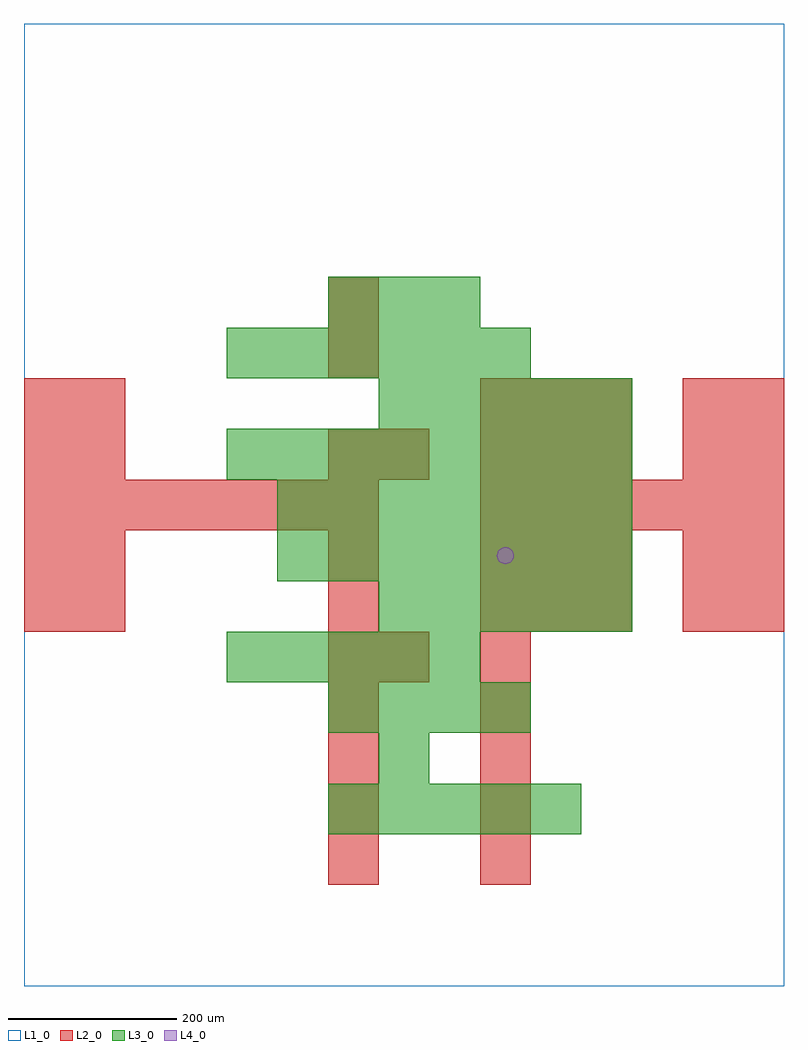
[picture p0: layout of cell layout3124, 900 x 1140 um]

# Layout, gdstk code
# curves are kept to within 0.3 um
import gdstk
lib = gdstk.Library(unit=1e-6, precision=1e-09)
def R(c, l, rs):  # rectangles x0, y0, x1, y1
    for r in rs: c.add(gdstk.rectangle(r[:2], r[2:], *l))
def A(c, l, x, y, w, h, nx, ny, dx, dy):  # array of equal rectangles
    R(c, l, [(x+i*dx, y+j*dy, x+i*dx+w, y+j*dy+h) for i in range(nx) for j in range(ny)])
def P(c, l, *ps):  # polygons
    for p in ps: c.add(gdstk.Polygon(p, *l))
L1_0 = (1, 0)
L2_0 = (2, 0)
L3_0 = (3, 0)
L4_0 = (4, 0)

layout3124 = lib.new_cell('layout3124')
R(layout3124, L1_0, [(0,0,900,1140)])
A(layout3124, L2_0, 360, 120, 60, 60, 1, 7, 0, 60)
A(layout3124, L2_0, 540, 120, 60, 60, 1, 5, 0, 60)
A(layout3124, L2_0, 540, 420, 60, 60, 3, 2, 60, 60)
A(layout3124, L2_0, 0, 540, 60, 60, 7, 1, 60, 0)
A(layout3124, L2_0, 540, 540, 60, 60, 6, 1, 60, 0)
A(layout3124, L2_0, 540, 600, 60, 60, 3, 2, 60, 60)
R(layout3124, L2_0, [(420,360,480,420), (0,420,60,480), (60,420,120,480), (780,420,840,480), (840,420,900,480), (0,480,60,540), (60,480,120,540), (780,480,840,540), (840,480,900,540), (0,600,60,660), (60,600,120,660), (360,600,420,660), (420,600,480,660), (780,600,840,660), (840,600,900,660), (0,660,60,720), (60,660,120,720), (780,660,840,720), (840,660,900,720), (360,720,420,780), (360,780,420,840)])
A(layout3124, L3_0, 360, 180, 60, 60, 5, 1, 60, 0)
A(layout3124, L3_0, 360, 300, 60, 60, 4, 1, 60, 0)
A(layout3124, L3_0, 240, 360, 60, 60, 5, 1, 60, 0)
A(layout3124, L3_0, 420, 420, 60, 60, 5, 2, 60, 240)
A(layout3124, L3_0, 300, 480, 60, 60, 7, 2, 60, 60)
A(layout3124, L3_0, 240, 600, 60, 60, 8, 1, 60, 0)
A(layout3124, L3_0, 240, 720, 60, 60, 6, 1, 60, 0)
A(layout3124, L3_0, 360, 780, 60, 60, 3, 1, 60, 0)
R(layout3124, L3_0, [(420,240,480,300)])
P(layout3124, L4_0, [(580,510),(579.239,513.827),(577.071,517.071),(573.827,519.239),(570,520),(566.173,519.239),(562.929,517.071),(560.761,513.827),(560,510),(560.761,506.173),(562.929,502.929),(566.173,500.761),(570,500),(573.827,500.761),(577.071,502.929),(579.239,506.173)])

lib.write_gds('layout3124.gds')
